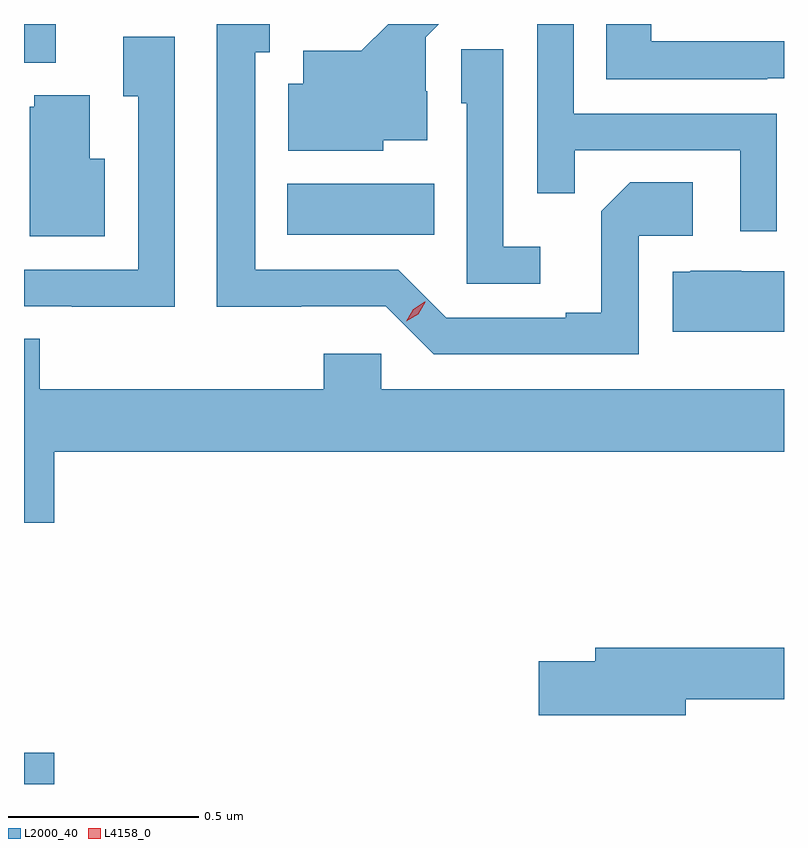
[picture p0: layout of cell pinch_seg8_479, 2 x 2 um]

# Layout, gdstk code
import gdstk
lib = gdstk.Library(unit=1e-6, precision=1e-09)
def R(c, l, rs):  # rectangles x0, y0, x1, y1
    for r in rs: c.add(gdstk.rectangle(r[:2], r[2:], *l))
def P(c, l, *ps):  # polygons
    for p in ps: c.add(gdstk.Polygon(p, *l))
L2000_40 = (2000, 40)
L4158_0 = (4158, 0)

pinch_seg8_479 = lib.new_cell('pinch_seg8_479')
R(pinch_seg8_479, L2000_40, [(117.14,1132.941,117.22,1133.023), (117.833,1134.386,118.22,1134.52), (117.14,1134.839,117.223,1134.941)])
P(pinch_seg8_479, L2000_40, [(118.086,1134.635),(118.201,1134.635),(118.201,1134.764),(118.197,1134.764),(118.197,1134.906),(118.232,1134.941),(118.098,1134.941),(118.027,1134.871),(117.875,1134.871),(117.875,1134.784),(117.836,1134.784),(117.836,1134.608),(118.086,1134.608)],
  [(119.121,1134.705),(118.587,1134.705),(118.587,1134.941),(118.491,1134.941),(118.491,1134.496),(118.589,1134.496),(118.589,1134.609),(119.025,1134.609),(119.025,1134.396),(119.121,1134.396)],
  [(118.758,1134.384),(118.9,1134.384),(118.9,1134.524),(118.735,1134.524),(118.659,1134.448),(118.659,1134.181),(118.565,1134.181),(118.565,1134.168),(118.251,1134.168),(118.125,1134.294),(117.748,1134.294),(117.748,1134.867),(117.787,1134.867),(117.787,1134.941),(117.647,1134.941),(117.647,1134.197),(117.87,1134.197),(117.87,1134.198),(118.092,1134.198),(118.218,1134.072),(118.758,1134.072)],
  [(119.096,1134.798),(119.14,1134.798),(119.14,1134.896),(118.791,1134.896),(118.791,1134.941),(118.672,1134.941),(118.672,1134.795),(119.096,1134.795)],
  [(117.537,1134.907),(117.401,1134.907),(117.401,1134.751),(117.441,1134.751),(117.441,1134.294),(117.14,1134.294),(117.14,1134.198),(117.265,1134.198),(117.265,1134.197),(117.537,1134.197)],
  [(118.498,1134.355),(118.401,1134.355),(118.401,1134.875),(118.29,1134.875),(118.29,1134.732),(118.305,1134.732),(118.305,1134.258),(118.498,1134.258)],
  [(117.352,1134.586),(117.313,1134.586),(117.313,1134.754),(117.167,1134.754),(117.167,1134.723),(117.155,1134.723),(117.155,1134.383),(117.352,1134.383)],
  [(119.14,1134.291),(119.028,1134.291),(119.028,1134.292),(118.894,1134.292),(118.891,1134.289),(118.847,1134.289),(118.847,1134.131),(119.14,1134.131)],
  [(117.22,1133.816),(119.14,1133.816),(119.14,1133.98),(118.08,1133.98),(118.08,1134.073),(117.929,1134.073),(117.929,1133.98),(117.182,1133.98),(117.182,1134.113),(117.14,1134.113),(117.14,1133.628),(117.22,1133.628)],
  [(118.882,1133.164),(119.14,1133.164),(119.14,1133.3),(118.643,1133.3),(118.643,1133.264),(118.494,1133.264),(118.494,1133.122),(118.882,1133.122)])
P(pinch_seg8_479, L4158_0, [(118.146,1134.159),(118.146,1134.159),(118.164,1134.191),(118.195,1134.21),(118.196,1134.21),(118.196,1134.209),(118.178,1134.177),(118.146,1134.159)])

lib.write_gds('pinch_seg8_479.gds')
